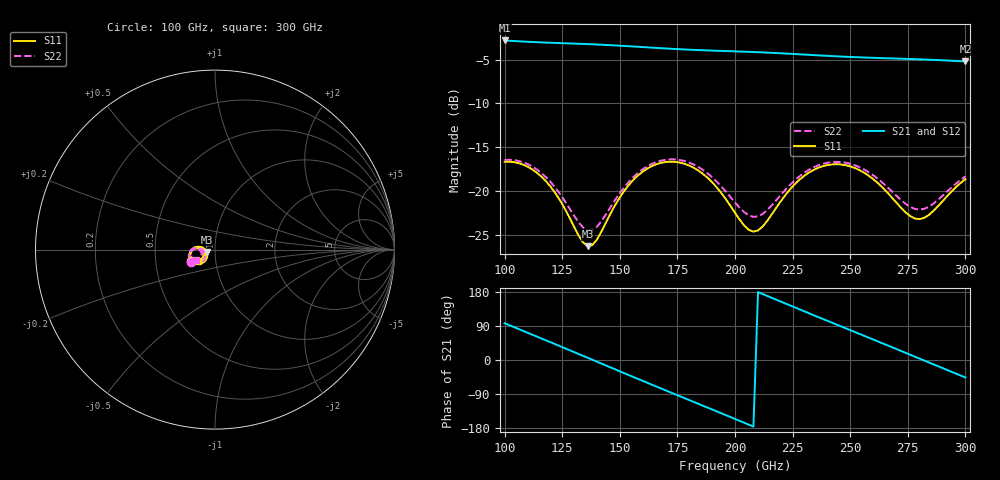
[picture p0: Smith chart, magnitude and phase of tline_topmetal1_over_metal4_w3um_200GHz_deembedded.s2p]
! Created with skrf 2.2.0 (http://scikit-rf.org).
# GHz S DB R 50.0
! Port[1] = P1
! Port[2] = P2
!freq dBS11 angS11 dBS21 angS21 dBS12 angS12 dBS22 angS22
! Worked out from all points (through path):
!   101 points, 100 GHz to 300 GHz, reference 50 ohm
!   highest |S21| = -2.79 dB at 100 GHz (marker M1); lowest = -5.2 dB at 300 GHz (marker M2)
!   group delay of S21, straight-line fit = 6.99 ps
!   lowest |S11| = -26.3 dB at 136 GHz (marker M3), VSWR 1.10, Z = 45.5 - j1.19 ohm
!   |S11| at or under -10 dB: start of sweep to end of sweep
!   |S22| runs from -24.5 to -16.4 dB; largest |S21 - S12| = 7.8e-14
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100  -16.68 -154.9  -2.79 97.1  -2.79 97.1  -16.47 -152.7
108  -16.99 -169.8  -2.91 76.9  -2.91 76.9  -16.72 -166.8
116  -18.37 177.1  -3.01 56.7  -3.01 56.7  -17.96 -178.8
126  -21.97 169.2  -3.11 31.4  -3.11 31.4  -21.10 174.7
134  -25.88 -174.1  -3.19 11.1  -3.19 11.1  -24.17 -171.4
136  -26.32 -164.4  -3.21 6.0  -3.21 6.0  -24.51 -164.1
140  -25.59 -145.0  -3.25 -4.3  -3.25 -4.3  -24.11 -149.1
150  -20.74 -131.6  -3.39 -29.8  -3.39 -29.8  -20.26 -135.4
160  -17.78 -142.2  -3.55 -55.2  -3.55 -55.2  -17.51 -143.7
168  -16.78 -154.7  -3.68 -75.4  -3.68 -75.4  -16.53 -154.8
176  -16.76 -167.7  -3.79 -95.4  -3.79 -95.4  -16.46 -166.6
184  -17.65 -179.4  -3.89 -115.4  -3.89 -115.4  -17.25 -177.1
200  -22.50 174.0  -4.04 -155.5  -4.04 -155.5  -21.32 177.6
206  -24.46 -171.6  -4.09 -170.7  -4.09 -170.7  -22.80 -171.2
210  -24.52 -157.1  -4.14 179.2  -4.14 179.2  -22.91 -160.4
222  -20.43 -139.0  -4.29 148.8  -4.29 148.8  -19.83 -144.3
234  -17.61 -149.3  -4.46 118.7  -4.46 118.7  -17.32 -152.3
250  -17.19 -170.8  -4.68 78.9  -4.68 78.9  -16.90 -171.5
268  -20.73 176.5  -4.84 34.1  -4.84 34.1  -20.03 177.4
280  -23.22 -163.3  -4.95 4.0  -4.95 4.0  -22.13 -165.8
290  -21.20 -145.2  -5.06 -21.2  -5.06 -21.2  -20.58 -150.1
300  -18.65 -146.5  -5.19 -46.2  -5.19 -46.2  -18.34 -150.4
